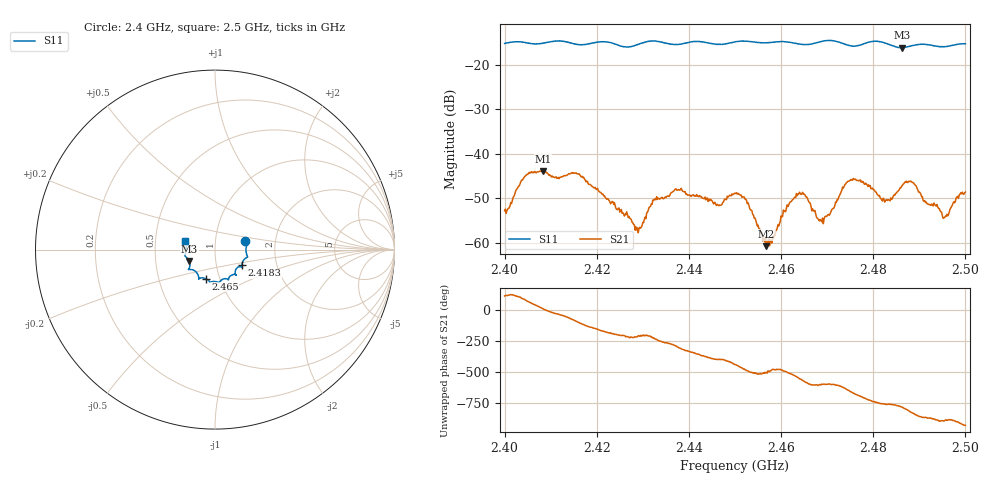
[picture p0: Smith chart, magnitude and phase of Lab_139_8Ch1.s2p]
# Hz S RI R 50
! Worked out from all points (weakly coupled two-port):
!   601 points, 2.4 GHz to 2.5 GHz, reference 50 ohm
!   highest |S21| = -43.88 dB at 2.4083 GHz (marker M1); lowest = -60.8 dB at 2.4568 GHz (marker M2)
!   lowest |S11| = -16.1 dB at 2.4862 GHz (marker M3), VSWR 1.37, Z = 37.2 - j4.79 ohm
!   |S11| at or under -10 dB: start of sweep to end of sweep
!   S12 and S22 are empty: the file has one direction only
!   S11 on the Smith chart (normalised r, x): 2.4 GHz: 1.40, +0.13; 2.4183 GHz: 1.33, -0.24; 2.465 GHz: 0.86, -0.28; 2.5 GHz: 0.71, +0.07
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2.4e9  0.1686 0.0466  -0.000739 0.00217  0 0  0 0
2.404833e9  0.1762 0.0209  0.00205 0.0055  0 0  0 0
2.408333e9  0.1748 -0.0199  0.00635 0.00079  0 0  0 0
2.416667e9  0.1546 -0.0678  -0.00214 -0.00507  0 0  0 0
2.418333e9  0.1499 -0.087  -0.00343 -0.00298  0 0  0 0
2.428833e9  0.112 -0.1272  -0.00118 0.00088  0 0  0 0
2.433333e9  0.1178 -0.1411  -0.0012 0.00294  0 0  0 0
2.438e9  0.0826 -0.1496  0.00237 0.0031  0 0  0 0
2.4465e9  0.0491 -0.163  0.00199 -0.00169  0 0  0 0
2.45e9  0.0259 -0.1801  0.000583 -0.00357  0 0  0 0
2.452333e9  0.0207 -0.1843  -0.0017 -0.00258  0 0  0 0
2.456833e9  -0.00809 -0.1774  -0.000717 -0.000571  0 0  0 0
2.461833e9  -0.0314 -0.1775  -0.00244 -0.00141  0 0  0 0
2.465e9  -0.0525 -0.1613  -0.00291 0.00203  0 0  0 0
2.466667e9  -0.0713 -0.1572  -0.00108 0.00201  0 0  0 0
2.468833e9  -0.0885 -0.162  -0.000958 0.00143  0 0  0 0
2.475667e9  -0.1066 -0.1231  0.0033 0.00414  0 0  0 0
2.483333e9  -0.1411 -0.0964  0.00244 -0.00183  0 0  0 0
2.486167e9  -0.1433 -0.0628  0.00216 -0.00377  0 0  0 0
2.488667e9  -0.1604 -0.0424  -0.00165 -0.00448  0 0  0 0
2.4955e9  -0.1603 0.0101  -0.00189 -0.000415  0 0  0 0
2.5e9  -0.1667 0.0471  -0.00331 0.00171  0 0  0 0
